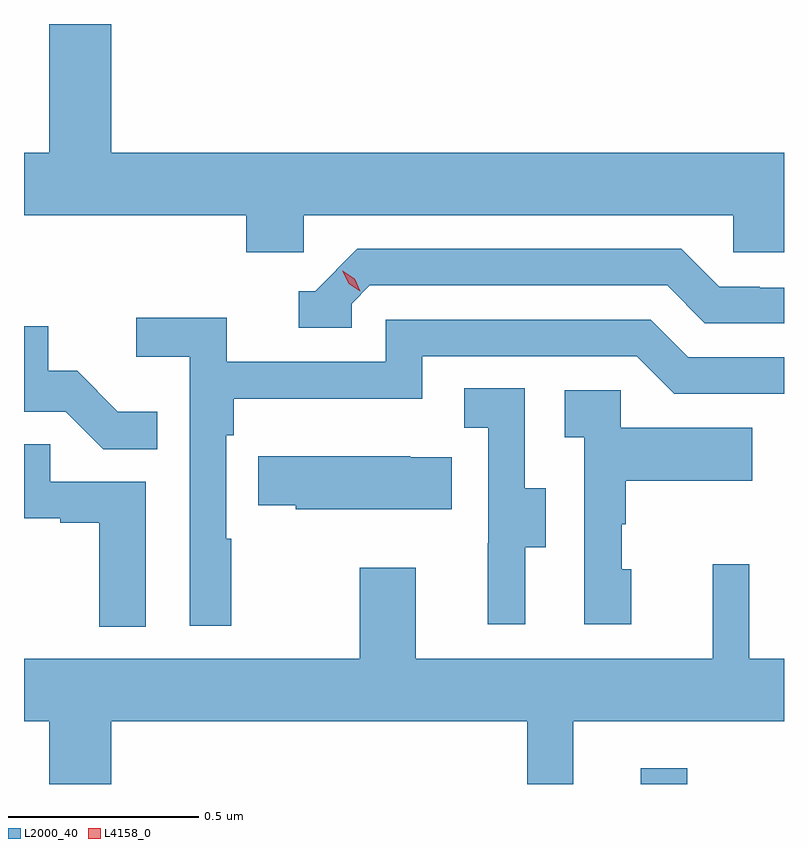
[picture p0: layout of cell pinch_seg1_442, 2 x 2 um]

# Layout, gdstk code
import gdstk
lib = gdstk.Library(unit=1e-6, precision=1e-09)
def R(c, l, rs):  # rectangles x0, y0, x1, y1
    for r in rs: c.add(gdstk.rectangle(r[:2], r[2:], *l))
def P(c, l, *ps):  # polygons
    for p in ps: c.add(gdstk.Polygon(p, *l))
L2000_40 = (2000, 40)
L4158_0 = (4158, 0)

pinch_seg1_442 = lib.new_cell('pinch_seg1_442')
R(pinch_seg1_442, L2000_40, [(933.797,515.603,933.919,515.644)])
P(pinch_seg1_442, L2000_40, [(932.91,517.1),(934.041,517.1),(934.041,517.002),(934.174,517.002),(934.174,517.264),(932.404,517.264),(932.404,517.603),(932.24,517.603),(932.24,517.264),(932.174,517.264),(932.174,517.1),(932.759,517.1),(932.759,517.002),(932.91,517.002)],
  [(933.036,516.867),(933.084,516.915),(933.867,516.915),(933.966,516.816),(934.174,516.816),(934.174,516.909),(934.11,516.909),(934.11,516.912),(934.003,516.912),(933.904,517.011),(933.051,517.011),(932.94,516.9),(932.897,516.9),(932.897,516.804),(933.036,516.804)],
  [(932.719,516.248),(932.706,516.248),(932.706,516.521),(932.726,516.521),(932.726,516.617),(933.222,516.617),(933.222,516.729),(933.786,516.729),(933.885,516.63),(934.174,516.63),(934.174,516.726),(933.922,516.726),(933.823,516.825),(933.126,516.825),(933.126,516.714),(932.708,516.714),(932.708,516.83),(932.469,516.83),(932.469,516.728),(932.61,516.728),(932.61,516.02),(932.719,516.02)],
  [(932.525,516.583),(932.421,516.583),(932.314,516.69),(932.238,516.69),(932.238,516.807),(932.174,516.807),(932.174,516.582),(932.284,516.582),(932.382,516.484),(932.525,516.484)],
  [(933.493,516.226),(933.547,516.226),(933.547,516.381),(933.492,516.381),(933.492,516.644),(933.333,516.644),(933.333,516.541),(933.396,516.541),(933.396,516.237),(933.395,516.237),(933.395,516.024),(933.493,516.024)],
  [(933.772,516.168),(933.747,516.168),(933.747,516.287),(933.757,516.287),(933.757,516.401),(934.091,516.401),(934.091,516.541),(933.744,516.541),(933.744,516.639),(933.597,516.639),(933.597,516.515),(933.648,516.515),(933.648,516.024),(933.772,516.024)],
  [(932.494,516.399),(932.243,516.399),(932.243,516.497),(932.174,516.497),(932.174,516.303),(932.269,516.303),(932.269,516.291),(932.372,516.291),(932.372,516.017),(932.494,516.017)],
  [(933.299,516.463),(933.191,516.463),(933.191,516.466),(932.791,516.466),(932.791,516.337),(932.889,516.337),(932.889,516.326),(933.299,516.326)],
  [(932.404,515.768),(933.498,515.768),(933.498,515.603),(933.619,515.603),(933.619,515.768),(934.174,515.768),(934.174,515.932),(934.083,515.932),(934.083,516.181),(933.986,516.181),(933.986,515.932),(933.205,515.932),(933.205,516.172),(933.058,516.172),(933.058,515.932),(932.174,515.932),(932.174,515.768),(932.24,515.768),(932.24,515.603),(932.404,515.603)])
P(pinch_seg1_442, L4158_0, [(933.059,516.9),(933.028,516.92),(933.013,516.953),(933.013,516.954),(933.013,516.954),(933.044,516.933),(933.059,516.9),(933.059,516.9)])

lib.write_gds('pinch_seg1_442.gds')
